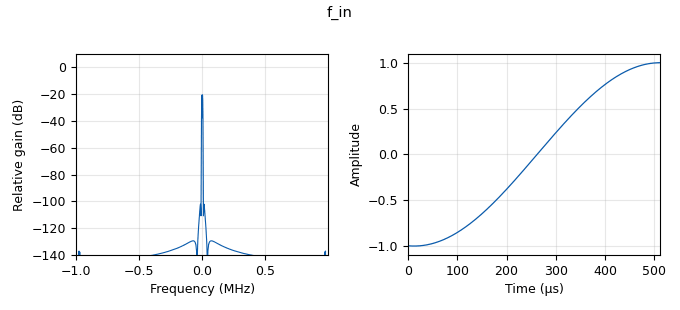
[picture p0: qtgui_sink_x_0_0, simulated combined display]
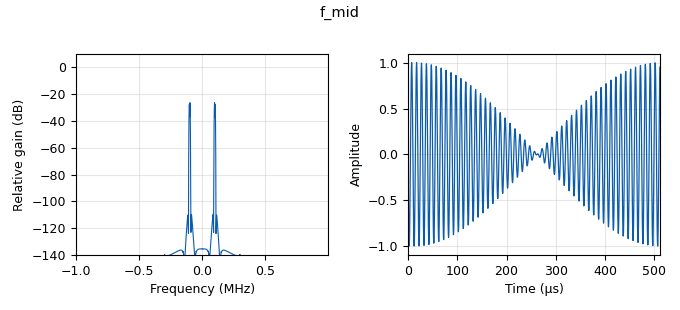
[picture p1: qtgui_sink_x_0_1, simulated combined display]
options:
  parameters:
    generate_options: qt_gui
    id: tp1
    output_language: python
    title: Not titled yet
  states: {}

blocks:
- name: freq_osci
  id: variable
  parameters:
    value: '100000'
  states: {}
- name: freq_src
  id: variable
  parameters:
    value: '400000'
  states: {}
- name: samp_rate
  id: variable
  parameters:
    value: '2000000'
  states: {}
- name: analog_sig_source_x_0
  id: analog_sig_source_x
  parameters:
    amp: '1'
    freq: freq_osci
    offset: '0'
    phase: '0'
    samp_rate: samp_rate
    type: float
    waveform: analog.GR_COS_WAVE
  states: {}
- name: analog_sig_source_x_1
  id: analog_sig_source_x
  parameters:
    amp: '1'
    freq: '1000'
    offset: '0'
    phase: '0'
    samp_rate: samp_rate
    type: float
    waveform: analog.GR_COS_WAVE
  states: {}
- name: blocks_multiply_xx_0
  id: blocks_multiply_xx
  parameters:
    type: float
  states: {}
- name: blocks_throttle_0
  id: blocks_throttle
  parameters:
    samples_per_second: samp_rate
    type: float
  states: {}
- name: qtgui_sink_x_0_0
  id: qtgui_sink_x
  parameters:
    alias: f_in
    bw: samp_rate
    fc: '0'
    fftsize: '1024'
    name: f_in
    type: float
  states: {}
- name: qtgui_sink_x_0_1
  id: qtgui_sink_x
  parameters:
    alias: f_mid
    bw: samp_rate
    fc: '0'
    fftsize: '1024'
    name: f_mid
    type: float
  states: {}

connections:
- [analog_sig_source_x_0, '0', blocks_multiply_xx_0, '1']
- [analog_sig_source_x_1, '0', blocks_throttle_0, '0']
- [blocks_multiply_xx_0, '0', qtgui_sink_x_0_1, '0']
- [blocks_throttle_0, '0', blocks_multiply_xx_0, '0']
- [blocks_throttle_0, '0', qtgui_sink_x_0_0, '0']

metadata:
  file_format: 1
